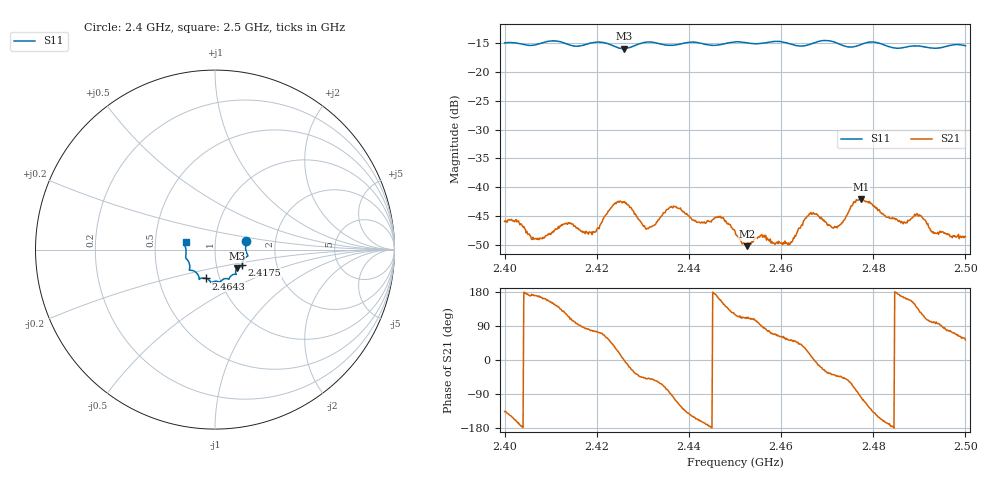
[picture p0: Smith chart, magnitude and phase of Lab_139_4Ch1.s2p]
# Hz S RI R 50
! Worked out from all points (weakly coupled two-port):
!   601 points, 2.4 GHz to 2.5 GHz, reference 50 ohm
!   highest |S21| = -42.07 dB at 2.4773 GHz (marker M1); lowest = -50.2 dB at 2.4527 GHz (marker M2)
!   lowest |S11| = -15.9 dB at 2.4258 GHz (marker M3), VSWR 1.38, Z = 62.3 - j13.3 ohm
!   |S11| at or under -10 dB: start of sweep to end of sweep
!   S12 and S22 are empty: the file has one direction only
!   S11 on the Smith chart (normalised r, x): 2.4 GHz: 1.41, +0.14; 2.4175 GHz: 1.34, -0.23; 2.4643 GHz: 0.86, -0.29; 2.5 GHz: 0.72, +0.06
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2.4e9  0.1729 0.0486  -0.00363 -0.00351  0 0  0 0
2.406333e9  0.1716 -0.00223  -0.00349 0.000617  0 0  0 0
2.413667e9  0.1691 -0.0449  -0.00217 0.00423  0 0  0 0
2.416667e9  0.1527 -0.0742  0.000102 0.00412  0 0  0 0
2.4175e9  0.1519 -0.0835  0.000491 0.00392  0 0  0 0
2.425833e9  0.1217 -0.1037  0.00739 0.000193  0 0  0 0
2.430667e9  0.1184 -0.1384  0.00283 -0.00328  0 0  0 0
2.433333e9  0.1128 -0.1371  0.00272 -0.00445  0 0  0 0
2.437167e9  0.0864 -0.1495  -0.00207 -0.00648  0 0  0 0
2.442167e9  0.0735 -0.1639  -0.00462 -0.00192  0 0  0 0
2.447e9  0.04 -0.169  -0.00494 0.00224  0 0  0 0
2.45e9  0.0288 -0.1809  -0.00205 0.00361  0 0  0 0
2.452667e9  0.0194 -0.1784  -0.00108 0.00288  0 0  0 0
2.461833e9  -0.0293 -0.1741  0.00196 0.00249  0 0  0 0
2.464333e9  -0.0499 -0.1609  0.00346 0.00304  0 0  0 0
2.466667e9  -0.076 -0.1594  0.00576 0.000783  0 0  0 0
2.471667e9  -0.0881 -0.1591  0.00352 -0.00291  0 0  0 0
2.477333e9  -0.1297 -0.1157  -0.00113 -0.00779  0 0  0 0
2.483333e9  -0.1408 -0.0898  -0.00543 -0.00104  0 0  0 0
2.489833e9  -0.1635 -0.0416  -0.00384 0.00409  0 0  0 0
2.493e9  -0.1609 -0.0139  -0.000611 0.00406  0 0  0 0
2.5e9  -0.1641 0.0428  0.00225 0.00299  0 0  0 0
